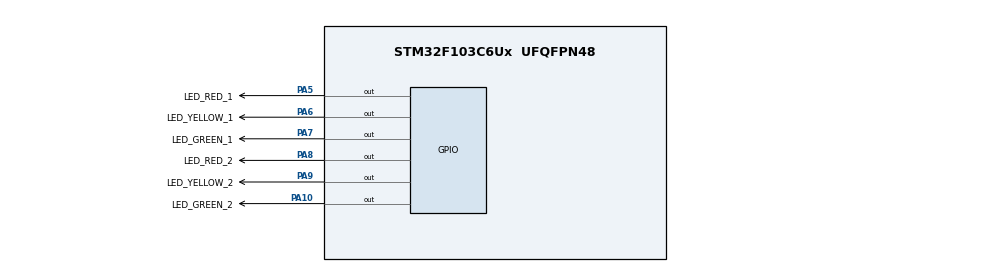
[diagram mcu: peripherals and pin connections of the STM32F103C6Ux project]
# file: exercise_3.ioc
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Mcu.Family=STM32F1
Mcu.Name=STM32F103C6Ux
Mcu.Package=UFQFPN48
NVIC.PriorityGroup=NVIC_PRIORITYGROUP_4
PA10.GPIO_Label=LED_GREEN_2
PA10.Signal=GPIO_Output
PA5.GPIO_Label=LED_RED_1
PA5.Signal=GPIO_Output
PA6.GPIO_Label=LED_YELLOW_1
PA6.Signal=GPIO_Output
PA7.GPIO_Label=LED_GREEN_1
PA7.Signal=GPIO_Output
PA8.GPIO_Label=LED_RED_2
PA8.Signal=GPIO_Output
PA9.GPIO_Label=LED_YELLOW_2
PA9.Signal=GPIO_Output
ProjectManager.HeapSize=0x200
ProjectManager.StackSize=0x400
ProjectManager.TargetToolchain=STM32CubeIDE
RCC.APB1Freq_Value=8000000
RCC.APB2Freq_Value=8000000
VP_SYS_VS_ND.Mode=No_Debug
board=custom

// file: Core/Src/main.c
/* USER CODE BEGIN Header */
/**
  ******************************************************************************
  * @file           : main.c
  * @brief          : Main program body
  ******************************************************************************
  * @attention
  *
  * <h2><center>&copy; Copyright (c) 2025 STMicroelectronics.
  * All rights reserved.</center></h2>
  *
  * This software component is licensed by ST under BSD 3-Clause license,
  * the "License"; You may not use this file except in compliance with the
  * License. You may obtain a copy of the License at:
  *                        opensource.org/licenses/BSD-3-Clause
  *
  ******************************************************************************
  */
/* USER CODE END Header */
#include "main.h"

/* USER CODE BEGIN PD */
#define ON 0
#define OFF 1
#define INIT 0
//only define state off 1 way -> STOP_1 = GO_2 + SLOW_2 and GO_1 + SLOW_1 = STOP_2
#define STOP_1 1
#define SLOW_1 2
#define GO_1 3
/* USER CODE END PD */

/* USER CODE BEGIN PV */
uint8_t state = INIT;
uint16_t counter = 0;
/* USER CODE END PV */

void SystemClock_Config(void);
static void MX_GPIO_Init(void);
/* USER CODE BEGIN PFP */
void red_led (uint8_t state, uint8_t way);
void yellow_led (uint8_t state, uint8_t way);
void green_led (uint8_t state, uint8_t way);

/* USER CODE END PFP */

int main(void)
{

  /* MCU Configuration--------------------------------------------------------*/

  /* Reset of all peripherals, Initializes the Flash interface and the Systick. */
  HAL_Init();

  /* Configure the system clock */
  SystemClock_Config();

  /* Initialize all configured peripherals */
  MX_GPIO_Init();

  /* Infinite loop */
  /* USER CODE BEGIN WHILE */
  while (1)
  {
	  HAL_Delay(10);
	  if (counter > 0){
		  counter --;
	  }

	  switch (state){
	  case INIT:
		  red_led(OFF, 1);
		  yellow_led(OFF, 1);
		  green_led(OFF, 1);
		  red_led(OFF, 2);
		  yellow_led(OFF, 2);
		  green_led(OFF, 2);
		  counter = 500;
		  state = STOP_1;
		  red_led(ON, 1);
		  green_led(ON, 2);
		  break;
	  case STOP_1:
		  if (counter <= 200){
			  green_led(OFF, 2);
			  yellow_led(ON, 2);
		  }
		  if (counter <= 0){
			  red_led (OFF, 1);
			  counter = 300;
			  state = GO_1;
			  green_led(ON, 1);
			  red_led (ON, 2);
			  yellow_led(OFF, 2);
		  }
		  break;
	  case GO_1:
		  if (counter <= 0){
			  green_led (OFF, 1);
			  counter = 200;
			  state = SLOW_1;
			  yellow_led(ON, 1);
		  }
		  break;
	  case SLOW_1:
		  if (counter <= 0){
			  yellow_led(OFF, 1);
			  red_led(OFF, 2);
			  green_led(ON, 2);
			  counter = 500;
			  state = STOP_1;
			  red_led(ON, 1);
		  }
		  break;
	  default:
		  break;
	  }

    /* USER CODE END WHILE */

  }
}

void SystemClock_Config(void)
{
  RCC_OscInitTypeDef RCC_OscInitStruct = {0};
  RCC_ClkInitTypeDef RCC_ClkInitStruct = {0};

  /** Initializes the RCC Oscillators according to the specified parameters
  * in the RCC_OscInitTypeDef structure.
  */
  RCC_OscInitStruct.OscillatorType = RCC_OSCILLATORTYPE_HSI;
  RCC_OscInitStruct.HSIState = RCC_HSI_ON;
  RCC_OscInitStruct.HSICalibrationValue = RCC_HSICALIBRATION_DEFAULT;
  RCC_OscInitStruct.PLL.PLLState = RCC_PLL_NONE;
  if (HAL_RCC_OscConfig(&RCC_OscInitStruct) != HAL_OK)
  {
    Error_Handler();
  }
  /** Initializes the CPU, AHB and APB buses clocks
  */
  RCC_ClkInitStruct.ClockType = RCC_CLOCKTYPE_HCLK|RCC_CLOCKTYPE_SYSCLK
                              |RCC_CLOCKTYPE_PCLK1|RCC_CLOCKTYPE_PCLK2;
  RCC_ClkInitStruct.SYSCLKSource = RCC_SYSCLKSOURCE_HSI;
  RCC_ClkInitStruct.AHBCLKDivider = RCC_SYSCLK_DIV1;
  RCC_ClkInitStruct.APB1CLKDivider = RCC_HCLK_DIV1;
  RCC_ClkInitStruct.APB2CLKDivider = RCC_HCLK_DIV1;

  if (HAL_RCC_ClockConfig(&RCC_ClkInitStruct, FLASH_LATENCY_0) != HAL_OK)
  {
    Error_Handler();
  }
}

static void MX_GPIO_Init(void)
{
  GPIO_InitTypeDef GPIO_InitStruct = {0};

  /* GPIO Ports Clock Enable */
  __HAL_RCC_GPIOA_CLK_ENABLE();

  /*Configure GPIO pin Output Level */
  HAL_GPIO_WritePin(GPIOA, LED_RED_1_Pin|LED_YELLOW_1_Pin|LED_GREEN_1_Pin|LED_RED_2_Pin
                          |LED_YELLOW_2_Pin|LED_GREEN_2_Pin, GPIO_PIN_RESET);

  /*Configure GPIO pins : LED_RED_1_Pin LED_YELLOW_1_Pin LED_GREEN_1_Pin LED_RED_2_Pin
                           LED_YELLOW_2_Pin LED_GREEN_2_Pin */
  GPIO_InitStruct.Pin = LED_RED_1_Pin|LED_YELLOW_1_Pin|LED_GREEN_1_Pin|LED_RED_2_Pin
                          |LED_YELLOW_2_Pin|LED_GREEN_2_Pin;
  GPIO_InitStruct.Mode = GPIO_MODE_OUTPUT_PP;
  GPIO_InitStruct.Pull = GPIO_NOPULL;
  GPIO_InitStruct.Speed = GPIO_SPEED_FREQ_LOW;
  HAL_GPIO_Init(GPIOA, &GPIO_InitStruct);

}

/* USER CODE BEGIN 4 */
void red_led (uint8_t state, uint8_t way){
	if (way == 1){
		HAL_GPIO_WritePin(LED_RED_1_GPIO_Port, LED_RED_1_Pin, state);
	}else if (way == 2){
		HAL_GPIO_WritePin(LED_RED_2_GPIO_Port, LED_RED_2_Pin, state);
	}else{
		return;
	}
}
void yellow_led (uint8_t state, uint8_t way){
	if (way == 1){
		HAL_GPIO_WritePin(LED_YELLOW_1_GPIO_Port, LED_YELLOW_1_Pin, state);
	}else if (way == 2){
		HAL_GPIO_WritePin(LED_YELLOW_2_GPIO_Port, LED_YELLOW_2_Pin, state);
	}else{
		return;
	}

}
void green_led (uint8_t state, uint8_t way){
	if (way == 1){
		HAL_GPIO_WritePin(LED_GREEN_1_GPIO_Port, LED_GREEN_1_Pin, state);
	}else if (way == 2){
		HAL_GPIO_WritePin(LED_GREEN_2_GPIO_Port, LED_GREEN_2_Pin, state);
	}else{
		return;
	}
}
/* USER CODE END 4 */

void Error_Handler(void)
{
  __disable_irq();
  while (1)
  {
  }
}

/************************ (C) COPYRIGHT STMicroelectronics *****END OF FILE****/
